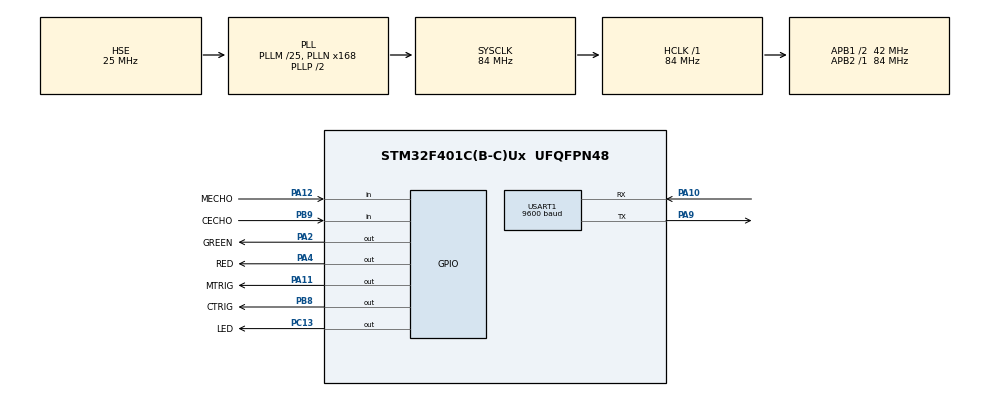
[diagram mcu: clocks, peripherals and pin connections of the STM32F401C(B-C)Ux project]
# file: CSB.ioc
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Mcu.Family=STM32F4
Mcu.Name=STM32F401C(B-C)Ux
Mcu.Package=UFQFPN48
NVIC.PriorityGroup=NVIC_PRIORITYGROUP_4
NVIC.USART1_IRQn=true\:0\:0\:false\:false\:true\:true\:true\:true
PA10.Mode=Asynchronous
PA10.Signal=USART1_RX
PA11.GPIO_Label=MTRIG
PA11.GPIO_PuPd=GPIO_PULLUP
PA11.Signal=GPIO_Output
PA12.GPIO_Label=MECHO
PA12.GPIO_PuPd=GPIO_PULLUP
PA12.Signal=GPIO_Input
PA2.GPIO_Label=GREEN
PA2.Signal=GPIO_Output
PA4.GPIO_Label=RED
PA4.Signal=GPIO_Output
PA9.Mode=Asynchronous
PA9.Signal=USART1_TX
PB8.GPIO_Label=CTRIG
PB8.GPIO_PuPd=GPIO_PULLUP
PB8.Signal=GPIO_Output
PB9.GPIO_Label=CECHO
PB9.GPIO_PuPd=GPIO_PULLUP
PB9.Signal=GPIO_Input
PC13-ANTI_TAMP.GPIO_Label=LED
PC13-ANTI_TAMP.Signal=GPIO_Output
PH0\ -\ OSC_IN.Mode=HSE-External-Oscillator
PH0\ -\ OSC_IN.Signal=RCC_OSC_IN
PH1\ -\ OSC_OUT.Mode=HSE-External-Oscillator
PH1\ -\ OSC_OUT.Signal=RCC_OSC_OUT
ProjectManager.HeapSize=0x200
ProjectManager.StackSize=0x400
ProjectManager.TargetToolchain=MDK-ARM V5.32
RCC.48MHZClocksFreq_Value=42000000
RCC.AHBFreq_Value=84000000
RCC.APB1CLKDivider=RCC_HCLK_DIV2
RCC.APB1Freq_Value=42000000
RCC.APB1TimFreq_Value=84000000
RCC.APB2Freq_Value=84000000
RCC.APB2TimFreq_Value=84000000
RCC.CortexFreq_Value=84000000
RCC.HCLKFreq_Value=84000000
RCC.HSE_VALUE=25000000
RCC.HSI_VALUE=16000000
RCC.LSE_VALUE=32768
RCC.PLLM=25
RCC.PLLN=168
RCC.PLLSourceVirtual=RCC_PLLSOURCE_HSE
RCC.SYSCLKFreq_VALUE=84000000
RCC.SYSCLKSource=RCC_SYSCLKSOURCE_PLLCLK
RCC.VCOOutputFreq_Value=168000000
TIM1.Prescaler=84-1
USART1.BaudRate=9600
USART1.VirtualMode=VM_ASYNC
VP_TIM1_VS_ClockSourceINT.Mode=Internal
board=custom

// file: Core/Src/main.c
/* USER CODE BEGIN Header */
/**
  ******************************************************************************
  * @file           : main.c
  * @brief          : Main program body
  ******************************************************************************
  * @attention
  *
  * Copyright (c) 2023 STMicroelectronics.
  * All rights reserved.
  *
  * This software is licensed under terms that can be found in the LICENSE file
  * in the root directory of this software component.
  * If no LICENSE file comes with this software, it is provided AS-IS.
  *
  ******************************************************************************
  */
/* USER CODE END Header */
#include "main.h"
#include "tim.h"
#include "usart.h"
#include "gpio.h"

void SystemClock_Config(void);

/* USER CODE BEGIN 0 */
int rtime = 30;   //红灯初始时间
int gtime = 30;   //绿灯初始时间
int flag = 0;     //判断状态，绿0红1
int distance;
//使用TIM1来做us级延时函数,此函数为1us
void TIM1_Delay_us(uint16_t n_us)
{
	__HAL_TIM_SetCounter(&htim1, 0);//htim1

	/* 开启定时器1计数 */
	__HAL_TIM_ENABLE(&htim1);

	//获取定时器的计数值！！！再判断计数值，但是计数值不得大于定时器配置的重装载值。\
	假如：定时器设定的重装载值为65536-1， 比较值需小于重装载值，即(计数1次 * n_us)-1) 小于（65536-1）\
																	  即传进来的参数n_us需要小于65536-1；
	while(__HAL_TIM_GetCounter(&htim1) < ((1 * n_us)-1) );
	/* Disable the Peripheral */
	__HAL_TIM_DISABLE(&htim1);
}

//获取超声波模块的检测距离
uint32_t car_csb_get_distance(void)  //车辆距离检测
{
    uint32_t CSB_value = 0 ;
	//给发射引脚一个高电平
	HAL_GPIO_WritePin(CTRIG_GPIO_Port, CTRIG_Pin, GPIO_PIN_SET);
	//延时10us以上
	TIM1_Delay_us(20);
	//给发射引脚一个低电平
	HAL_GPIO_WritePin(CTRIG_GPIO_Port,CTRIG_Pin, GPIO_PIN_RESET);
	//等待接收引脚变成高电平
	while( HAL_GPIO_ReadPin(CECHO_GPIO_Port,CECHO_Pin) == 0);
	//设置定时器初始值为0
	__HAL_TIM_SetCounter(&htim1, 0);
	//开始计时
	__HAL_TIM_ENABLE(&htim1);
	//接收完全后不再为高电平，即当接收引脚变成低电平后，停止计时，获取计数时间
    while( HAL_GPIO_ReadPin(CECHO_GPIO_Port,CECHO_Pin) == 1);
	//获取定时器的计数值,赋值操作  a = b;
	CSB_value = __HAL_TIM_GetCounter(&htim1);
	//停止计时
	__HAL_TIM_DISABLE(&htim1);
	//已知高电平总时间，即可利用公式（ 测试距离= (高电平时间*声速(340M/S))/2 ），计算超声波模块距离障碍物的单程距离；
	//如果需要返回 毫米级别距离,公式为（ 测试距离= (高电平时间*声速(340M/1000mS))/2 ）
	int car_value;
	car_value  = CSB_value*340/10000/2;
	if(car_value > 50) return 50;
	else return car_value;
}
uint32_t man_csb_get_distance(void)  //人类距离检测
{
    uint32_t CSB_value = 0 ;
	//给发射引脚一个高电平
	HAL_GPIO_WritePin(MTRIG_GPIO_Port, MTRIG_Pin, GPIO_PIN_SET);
	//延时10us以上
	TIM1_Delay_us(20);
	//给发射引脚一个低电平
	HAL_GPIO_WritePin(MTRIG_GPIO_Port,MTRIG_Pin, GPIO_PIN_RESET);
	//等待接收引脚变成高电平
	while( HAL_GPIO_ReadPin(MECHO_GPIO_Port,MECHO_Pin) == 0);
	//设置定时器初始值为0
	__HAL_TIM_SetCounter(&htim1, 0);
	//开始计时
	__HAL_TIM_ENABLE(&htim1);
	//接收完全后不再为高电平，即当接收引脚变成低电平后，停止计时，获取计数时间
    while( HAL_GPIO_ReadPin(MECHO_GPIO_Port,MECHO_Pin) == 1);
	//获取定时器的计数值,赋值操作  a = b;
	CSB_value = __HAL_TIM_GetCounter(&htim1);
	//停止计时
	__HAL_TIM_DISABLE(&htim1);
	//已知高电平总时间，即可利用公式（ 测试距离= (高电平时间*声速(340M/S))/2 ），计算超声波模块距离障碍物的单程距离；
	//如果需要返回 毫米级别距离,公式为（ 测试距离= (高电平时间*声速(340M/1000mS))/2 ）
	int man_value;
	man_value = CSB_value*340/10000/2;
	if(man_value > 50) return 50;
	else return man_value;

}

int calc(void)  //时间和调整计算模块
{
	int m,c;
	m = 50 - man_csb_get_distance();
	HAL_Delay(100);
	c = 50 - car_csb_get_distance();
	HAL_Delay(100);
	if ((m > 0 && m <= 20) && (c > 30 && c <= 50))
	{
		rtime = 45;
		gtime = 15;
		HAL_UART_Transmit(&huart1, (uint8_t *)"当前红灯时间45秒，绿灯时间15秒\n", 30, 0xffff);
	}
	else if((m > 20 && m <= 50) && (c > 0 && c <= 30))
	{
		gtime = 45;
		rtime = 15;
		HAL_UART_Transmit(&huart1, (uint8_t *)"当前红灯时间15秒，绿灯时间45秒\n", 30, 0xffff);
	}
	else
	{
		rtime = 30;
		gtime = 30;
		HAL_UART_Transmit(&huart1, (uint8_t *)"当前红灯时间30秒，绿灯时间30秒\n", 30, 0xffff);
	}

}

int green(void) //绿灯
{
	flag = 0;
	HAL_GPIO_WritePin(RED_GPIO_Port,RED_Pin,0);
	HAL_GPIO_WritePin(GREEN_GPIO_Port,GREEN_Pin,1);
}
int red(void)  //红灯
{
	flag = 1;
	HAL_GPIO_WritePin(GREEN_GPIO_Port,GREEN_Pin,0);
	HAL_GPIO_WritePin(RED_GPIO_Port,RED_Pin,1);
}
int car_move(void)  //检测车辆闯红灯
{
	int d1,d2,re;
	d1 = car_csb_get_distance();
	HAL_Delay(100);
	d2 = car_csb_get_distance();
	HAL_Delay(100);
	if(d2 > d1)
	{
		HAL_UART_Transmit(&huart1, (uint8_t *)"有车闯红灯", 10, 0xffff);
		re = 1;
	}
	else re = 0;
	return re;
}
int man_move(void) //检测人类闯红灯
{
	int d3,d4,ret;
	d3 = man_csb_get_distance();
	HAL_Delay(100);
	d4 = man_csb_get_distance();
	HAL_Delay(100);
	if(d4 > d3)
	{
		HAL_UART_Transmit(&huart1, (uint8_t *)"有人闯红灯", 10, 0xffff);
		ret = 1;
	}
	else ret = 0;
	return ret;
}

int blink(void)  //最后3秒灯闪
{
	if(flag == 0)
	{
		int gtemp2 = 3;
		while(gtemp2 > 0 && gtemp2 <= 3)
		{
			HAL_GPIO_TogglePin(GREEN_GPIO_Port,GREEN_Pin);
			HAL_Delay(500);
			HAL_GPIO_TogglePin(GREEN_GPIO_Port,GREEN_Pin);
			HAL_Delay(500);
			gtemp2 -= 1;
		}
		red();
	}
	else
	{
		int rtemp2 = 3;
		while(rtemp2 > 0 && rtemp2 <= 3)
		{
			HAL_GPIO_TogglePin(RED_GPIO_Port,RED_Pin);
			HAL_Delay(500);
			HAL_GPIO_TogglePin(RED_GPIO_Port,RED_Pin);
			HAL_Delay(500);
			rtemp2 -= 1;
		}
		green();
	}
}

int bef_blink(void)  //前27秒
{
	if(flag == 0)
	{
		green();
		int gtemp1 = gtime;  //生成临时变量，就不用把时间变量调回去，调用和修改方便
		while(gtemp1 > 3)
		{
			HAL_Delay(800);
			gtemp1 -= 1;
			int carmove;
			carmove = car_move();
			while(carmove == 1 && gtemp1 > 3)
			{
				HAL_GPIO_TogglePin(GREEN_GPIO_Port,GREEN_Pin);
				HAL_Delay(250);
				HAL_GPIO_TogglePin(GREEN_GPIO_Port,GREEN_Pin);
				carmove = car_move();
				HAL_Delay(50);
				HAL_GPIO_TogglePin(GREEN_GPIO_Port,GREEN_Pin);
				HAL_Delay(250);
				HAL_GPIO_TogglePin(GREEN_GPIO_Port,GREEN_Pin);
				carmove = car_move();
				HAL_Delay(50);
				gtemp1 -= 1;

			}

		}
	}
	else
	{
		red();
		int rtemp1 = rtime;  //生成临时变量，就不用把时间变量调回去，调用和修改方便
		while(rtemp1 > 3)
		{
			HAL_Delay(800);
			rtemp1 -= 1;
			int manmove;
			manmove = man_move();
			while(manmove == 1 && rtemp1 > 3)
			{
				HAL_GPIO_TogglePin(RED_GPIO_Port,RED_Pin);
				HAL_Delay(250);
				HAL_GPIO_TogglePin(RED_GPIO_Port,RED_Pin);
				manmove = man_move();
				HAL_Delay(50);
				HAL_GPIO_TogglePin(RED_GPIO_Port,RED_Pin);
				HAL_Delay(250);
				HAL_GPIO_TogglePin(RED_GPIO_Port,RED_Pin);
				manmove = man_move();
				HAL_Delay(50);
				rtemp1 -= 1;

			}
		}
	}
	blink();
}

/* USER CODE END 0 */

int main(void)
{

  /* MCU Configuration--------------------------------------------------------*/

  /* Reset of all peripherals, Initializes the Flash interface and the Systick. */
  HAL_Init();

  /* Configure the system clock */
  SystemClock_Config();

  /* Initialize all configured peripherals */
  MX_GPIO_Init();
  MX_TIM1_Init();
  MX_USART1_UART_Init();
  /* USER CODE BEGIN 2 */
	HAL_GPIO_WritePin(LED_GPIO_Port,LED_Pin,0);
  /* USER CODE END 2 */

  /* Infinite loop */
  /* USER CODE BEGIN WHILE */
  while (1)
  {
		calc();  //先运行时间调整函数

		bef_blink();  //进入计时

    /* USER CODE END WHILE */

  }
}

void SystemClock_Config(void)
{
  RCC_OscInitTypeDef RCC_OscInitStruct = {0};
  RCC_ClkInitTypeDef RCC_ClkInitStruct = {0};

  /** Configure the main internal regulator output voltage
  */
  __HAL_RCC_PWR_CLK_ENABLE();
  __HAL_PWR_VOLTAGESCALING_CONFIG(PWR_REGULATOR_VOLTAGE_SCALE2);

  /** Initializes the RCC Oscillators according to the specified parameters
  * in the RCC_OscInitTypeDef structure.
  */
  RCC_OscInitStruct.OscillatorType = RCC_OSCILLATORTYPE_HSE;
  RCC_OscInitStruct.HSEState = RCC_HSE_ON;
  RCC_OscInitStruct.PLL.PLLState = RCC_PLL_ON;
  RCC_OscInitStruct.PLL.PLLSource = RCC_PLLSOURCE_HSE;
  RCC_OscInitStruct.PLL.PLLM = 25;
  RCC_OscInitStruct.PLL.PLLN = 168;
  RCC_OscInitStruct.PLL.PLLP = RCC_PLLP_DIV2;
  RCC_OscInitStruct.PLL.PLLQ = 4;
  if (HAL_RCC_OscConfig(&RCC_OscInitStruct) != HAL_OK)
  {
    Error_Handler();
  }

  /** Initializes the CPU, AHB and APB buses clocks
  */
  RCC_ClkInitStruct.ClockType = RCC_CLOCKTYPE_HCLK|RCC_CLOCKTYPE_SYSCLK
                              |RCC_CLOCKTYPE_PCLK1|RCC_CLOCKTYPE_PCLK2;
  RCC_ClkInitStruct.SYSCLKSource = RCC_SYSCLKSOURCE_PLLCLK;
  RCC_ClkInitStruct.AHBCLKDivider = RCC_SYSCLK_DIV1;
  RCC_ClkInitStruct.APB1CLKDivider = RCC_HCLK_DIV2;
  RCC_ClkInitStruct.APB2CLKDivider = RCC_HCLK_DIV1;

  if (HAL_RCC_ClockConfig(&RCC_ClkInitStruct, FLASH_LATENCY_2) != HAL_OK)
  {
    Error_Handler();
  }
}

void Error_Handler(void)
{
  __disable_irq();
  while (1)
  {
  }
}
